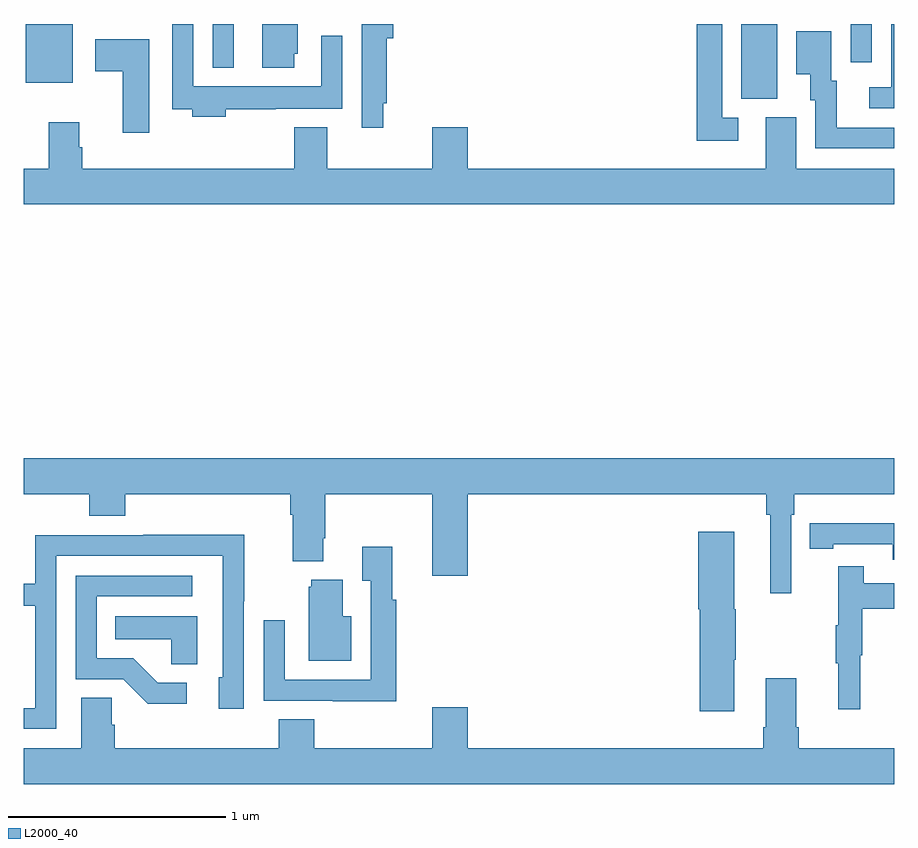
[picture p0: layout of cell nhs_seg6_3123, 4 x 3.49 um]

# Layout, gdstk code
import gdstk
lib = gdstk.Library(unit=1e-6, precision=1e-09)
def R(c, l, rs):  # rectangles x0, y0, x1, y1
    for r in rs: c.add(gdstk.rectangle(r[:2], r[2:], *l))
def P(c, l, *ps):  # polygons
    for p in ps: c.add(gdstk.Polygon(p, *l))
L2000_40 = (2000, 40)

nhs_seg6_3123 = lib.new_cell('nhs_seg6_3123')
R(nhs_seg6_3123, L2000_40, [(298.298,945.157,298.462,945.5), (295.01,945.23,295.225,945.5), (295.869,945.299,295.966,945.5), (298.8,945.324,298.896,945.5)])
P(nhs_seg6_3123, L2000_40, [(295.928,945.108),(296.159,945.108),(296.159,945.11),(296.463,945.11),(296.463,945.445),(296.367,945.445),(296.367,945.214),(295.779,945.214),(295.779,945.5),(295.683,945.5),(295.683,945.108),(295.775,945.108),(295.775,945.074),(295.928,945.074)],
  [(299,945.5),(298.986,945.5),(298.986,945.21),(298.884,945.21),(298.884,945.114),(299,945.114)],
  [(296.242,945.363),(296.26,945.363),(296.26,945.5),(296.096,945.5),(296.096,945.3),(296.242,945.3)],
  [(296.652,945.136),(296.669,945.136),(296.669,945.434),(296.699,945.434),(296.699,945.5),(296.553,945.5),(296.553,945.024),(296.652,945.024)],
  [(298.282,945.069),(298.209,945.069),(298.209,945.5),(298.093,945.5),(298.093,944.964),(298.282,944.964)],
  [(299,945.024),(298.735,945.024),(298.735,945.24),(298.711,945.24),(298.711,945.466),(298.55,945.466),(298.55,945.269),(298.613,945.269),(298.613,945.15),(298.638,945.15),(298.638,944.928),(299,944.928)],
  [(295.576,945.43),(295.329,945.43),(295.329,945.283),(295.454,945.283),(295.454,945),(295.576,945)],
  [(299,944.836),(298.549,944.836),(298.549,945.072),(298.409,945.072),(298.409,944.836),(297.04,944.836),(297.04,945.025),(296.876,945.025),(296.876,944.836),(296.395,944.836),(296.395,945.025),(296.243,945.025),(296.243,944.836),(295.268,944.836),(295.268,944.934),(295.255,944.934),(295.255,945.049),(295.115,945.049),(295.115,944.836),(295,944.836),(295,944.672),(299,944.672)],
  [(298.527,943.244),(298.541,943.244),(298.541,943.34),(299,943.34),(299,943.504),(295,943.504),(295,943.34),(295.301,943.34),(295.301,943.241),(295.466,943.241),(295.466,943.34),(296.225,943.34),(296.225,943.244),(296.237,943.244),(296.237,943.031),(296.377,943.031),(296.377,943.138),(296.385,943.138),(296.385,943.34),(296.876,943.34),(296.876,942.966),(297.04,942.966),(297.04,943.34),(298.411,943.34),(298.411,943.244),(298.43,943.244),(298.43,942.885),(298.527,942.885)],
  [(299,943.207),(298.72,943.207),(298.72,943.206),(298.612,943.206),(298.612,943.09),(298.72,943.09),(298.72,943.11),(298.992,943.11),(298.992,943.038),(299,943.038)],
  [(298.264,942.58),(298.272,942.58),(298.272,942.81),(298.264,942.81),(298.264,943.168),(298.1,943.168),(298.1,942.81),(298.106,942.81),(298.106,942.342),(298.264,942.342)],
  [(295.149,943.056),(295.914,943.056),(295.914,942.498),(295.895,942.498),(295.895,942.354),(296.01,942.354),(296.01,942.847),(296.013,942.847),(296.013,943.154),(295.549,943.154),(295.549,943.152),(295.053,943.152),(295.053,942.927),(295,942.927),(295,942.826),(295.053,942.826),(295.053,942.357),(295,942.357),(295,942.261),(295.149,942.261)],
  [(296.711,942.854),(296.693,942.854),(296.693,943.099),(296.555,943.099),(296.555,942.943),(296.595,942.943),(296.595,942.486),(296.199,942.486),(296.199,942.76),(296.103,942.76),(296.103,942.39),(296.419,942.39),(296.419,942.389),(296.711,942.389)],
  [(298.844,942.6),(298.852,942.6),(298.852,942.814),(299,942.814),(299,942.93),(298.859,942.93),(298.859,943.009),(298.742,943.009),(298.742,942.737),(298.731,942.737),(298.731,942.563),(298.742,942.563),(298.742,942.351),(298.844,942.351)],
  [(295.75,942.474),(295.615,942.474),(295.504,942.585),(295.335,942.585),(295.335,942.87),(295.774,942.87),(295.774,942.966),(295.239,942.966),(295.239,942.489),(295.458,942.489),(295.571,942.377),(295.75,942.377)],
  [(296.506,942.778),(296.467,942.778),(296.467,942.946),(296.321,942.946),(296.321,942.915),(296.309,942.915),(296.309,942.575),(296.506,942.575)],
  [(295.798,942.778),(295.42,942.778),(295.42,942.674),(295.677,942.674),(295.677,942.559),(295.798,942.559)],
  [(299,942.172),(298.562,942.172),(298.562,942.268),(298.549,942.268),(298.549,942.493),(298.409,942.493),(298.409,942.268),(298.397,942.268),(298.397,942.172),(297.04,942.172),(297.04,942.361),(296.876,942.361),(296.876,942.172),(296.336,942.172),(296.336,942.305),(296.171,942.305),(296.171,942.172),(295.418,942.172),(295.418,942.281),(295.404,942.281),(295.404,942.404),(295.265,942.404),(295.265,942.172),(295,942.172),(295,942.008),(299,942.008)])

lib.write_gds('nhs_seg6_3123.gds')
